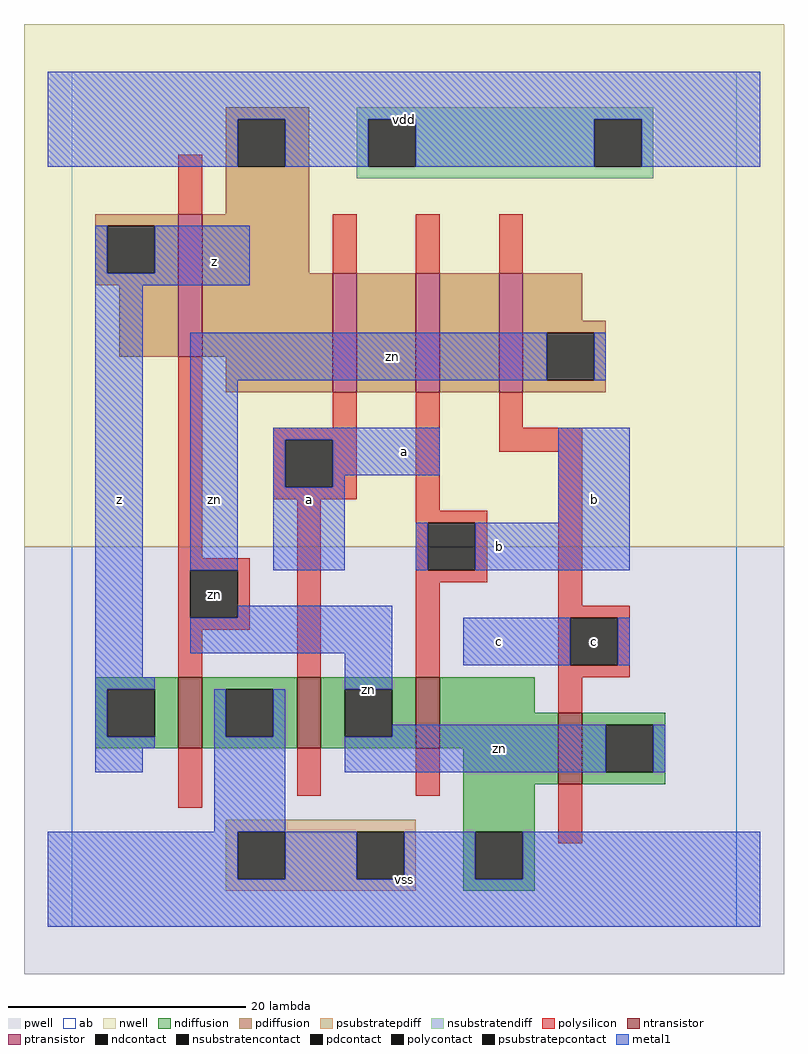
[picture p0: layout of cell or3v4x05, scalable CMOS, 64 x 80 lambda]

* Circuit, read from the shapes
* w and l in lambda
.subckt or3v4x05 a b c vdd vss z zn
M1 vss zn z vss nfet w=6 l=2
M2 zn a vss vss nfet w=6 l=2
M3 vss b zn vss nfet w=6 l=2
M4 zn c vss vss nfet w=6 l=2
M5 vdd zn z vdd pfet w=12 l=2
M6 n1 a vdd vdd pfet w=10 l=2
M7 n2 b n1 vdd pfet w=10 l=2
M8 zn c n2 vdd pfet w=10 l=2
.ends

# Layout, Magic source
magic
tech scmos
<< ab >>
rect 0 0 56 72
<< pwell >>
rect -4 -4 60 32
<< nwell >>
rect -4 32 60 76
<< polysilicon >>
rect 9 60 11 65
rect 22 55 24 60
rect 29 55 31 60
rect 36 55 38 60
rect 9 31 11 48
rect 22 42 24 45
rect 17 41 24 42
rect 17 37 18 41
rect 22 37 24 41
rect 17 36 24 37
rect 9 30 15 31
rect 9 26 10 30
rect 14 26 15 30
rect 9 25 15 26
rect 9 21 11 25
rect 19 21 21 36
rect 29 35 31 45
rect 36 42 38 45
rect 36 40 43 42
rect 29 34 35 35
rect 29 30 30 34
rect 34 30 35 34
rect 29 29 35 30
rect 29 21 31 29
rect 41 27 43 40
rect 41 26 47 27
rect 41 22 42 26
rect 46 22 47 26
rect 41 21 47 22
rect 41 18 43 21
rect 9 10 11 15
rect 19 11 21 15
rect 29 11 31 15
rect 41 7 43 12
<< ndiffusion >>
rect 2 20 9 21
rect 2 16 3 20
rect 7 16 9 20
rect 2 15 9 16
rect 11 20 19 21
rect 11 16 13 20
rect 17 16 19 20
rect 11 15 19 16
rect 21 20 29 21
rect 21 16 23 20
rect 27 16 29 20
rect 21 15 29 16
rect 31 18 39 21
rect 31 15 41 18
rect 33 12 41 15
rect 43 17 50 18
rect 43 13 45 17
rect 49 13 50 17
rect 43 12 50 13
rect 33 8 39 12
rect 33 4 34 8
rect 38 4 39 8
rect 33 3 39 4
<< pdiffusion >>
rect 13 68 20 69
rect 13 64 14 68
rect 18 64 20 68
rect 13 60 20 64
rect 2 59 9 60
rect 2 55 3 59
rect 7 55 9 59
rect 2 54 9 55
rect 4 48 9 54
rect 11 55 20 60
rect 11 48 22 55
rect 13 45 22 48
rect 24 45 29 55
rect 31 45 36 55
rect 38 51 43 55
rect 38 50 45 51
rect 38 46 40 50
rect 44 46 45 50
rect 38 45 45 46
<< metal1 >>
rect -2 68 58 72
rect -2 64 14 68
rect 18 64 25 68
rect 29 64 44 68
rect 48 64 58 68
rect 2 55 3 59
rect 7 55 15 59
rect 2 54 15 55
rect 2 21 6 54
rect 10 46 40 50
rect 44 46 45 50
rect 10 30 14 46
rect 17 41 31 42
rect 17 37 18 41
rect 22 38 31 41
rect 22 37 23 38
rect 17 30 23 37
rect 41 34 47 42
rect 29 30 30 34
rect 34 30 47 34
rect 14 26 27 27
rect 10 23 27 26
rect 2 20 7 21
rect 23 20 27 23
rect 33 22 42 26
rect 46 22 47 26
rect 2 16 3 20
rect 2 15 7 16
rect 12 16 13 20
rect 17 16 18 20
rect 2 13 6 15
rect 12 8 18 16
rect 27 16 45 17
rect 23 13 45 16
rect 49 13 50 17
rect -2 4 14 8
rect 18 4 24 8
rect 28 4 34 8
rect 38 4 58 8
rect -2 0 58 4
<< ntransistor >>
rect 9 15 11 21
rect 19 15 21 21
rect 29 15 31 21
rect 41 12 43 18
<< ptransistor >>
rect 9 48 11 60
rect 22 45 24 55
rect 29 45 31 55
rect 36 45 38 55
<< polycontact >>
rect 18 37 22 41
rect 10 26 14 30
rect 30 30 34 34
rect 42 22 46 26
<< ndcontact >>
rect 3 16 7 20
rect 13 16 17 20
rect 23 16 27 20
rect 45 13 49 17
rect 34 4 38 8
<< pdcontact >>
rect 14 64 18 68
rect 3 55 7 59
rect 40 46 44 50
<< psubstratepcontact >>
rect 14 4 18 8
rect 24 4 28 8
<< nsubstratencontact >>
rect 25 64 29 68
rect 44 64 48 68
<< psubstratepdiff >>
rect 13 8 29 9
rect 13 4 14 8
rect 18 4 24 8
rect 28 4 29 8
rect 13 3 29 4
<< nsubstratendiff >>
rect 24 68 49 69
rect 24 64 25 68
rect 29 64 44 68
rect 48 64 49 68
rect 24 63 49 64
<< labels >>
rlabel polycontact 12 28 12 28 6 zn
rlabel metal1 4 36 4 36 6 z
rlabel metal1 25 20 25 20 6 zn
rlabel metal1 20 36 20 36 6 a
rlabel metal1 12 36 12 36 6 zn
rlabel metal1 12 56 12 56 6 z
rlabel metal1 28 4 28 4 6 vss
rlabel metal1 36 24 36 24 6 c
rlabel metal1 36 32 36 32 6 b
rlabel metal1 28 40 28 40 6 a
rlabel metal1 28 68 28 68 6 vdd
rlabel metal1 36 15 36 15 6 zn
rlabel polycontact 44 24 44 24 6 c
rlabel metal1 44 36 44 36 6 b
rlabel metal1 27 48 27 48 6 zn
<< end >>
